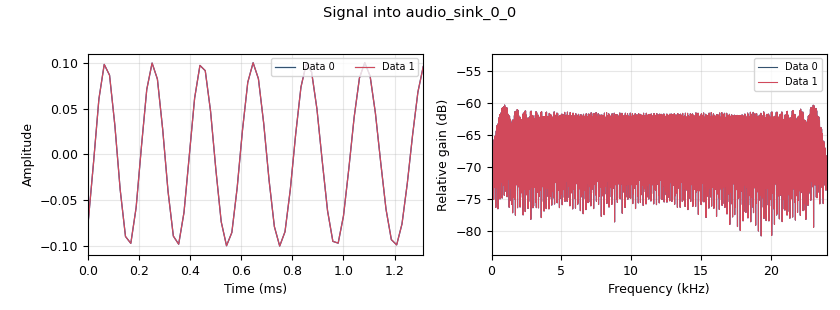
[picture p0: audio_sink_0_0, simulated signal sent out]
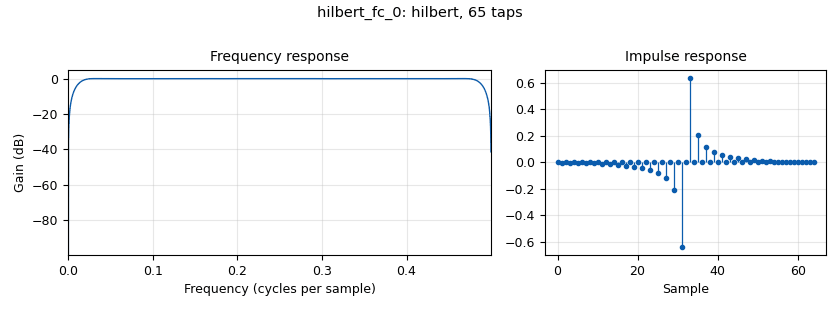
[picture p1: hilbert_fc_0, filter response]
<?xml version='1.0' encoding='utf-8'?>
<?grc format='1' created='3.7.12'?>
<flow_graph>
<block>
<key>options</key>
<param><key>id</key><value>audio_fmcw</value></param>
<param><key>author</key><value>Balint Seeber</value></param>
<param><key>category</key><value>Custom</value></param>
<param><key>comment</key><value>Adjust 'd' while running to compensate for audio HW delay</value></param>
<param><key>description</key><value>R1 (More info: https://wiki.spench.net/wiki/RF)</value></param>
<param><key>generate_options</key><value>wx_gui</value></param>
<param><key>title</key><value>Audio FMCW RADAR</value></param>
</block>
<block>
<key>variable_slider</key>
<param><key>id</key><value>d</value></param>
<param><key>converver</key><value>int_converter</value></param>
<param><key>value</key><value>350-100*0</value></param>
<param><key>label</key><value></value></param>
<param><key>max</key><value>1000</value></param>
<param><key>min</key><value>0</value></param>
<param><key>num_steps</key><value>1000</value></param>
<param><key>style</key><value>wx.SL_HORIZONTAL</value></param>
</block>
<block>
<key>variable_slider</key>
<param><key>id</key><value>demod_mul</value></param>
<param><key>converver</key><value>float_converter</value></param>
<param><key>value</key><value>-30</value></param>
<param><key>label</key><value></value></param>
<param><key>max</key><value>10</value></param>
<param><key>min</key><value>-60</value></param>
<param><key>num_steps</key><value>70</value></param>
<param><key>style</key><value>wx.SL_HORIZONTAL</value></param>
</block>
<block>
<key>variable</key>
<param><key>id</key><value>doppler_bins</value></param>
<param><key>value</key><value>64</value></param>
</block>
<block>
<key>variable_slider</key>
<param><key>id</key><value>dyn_range</value></param>
<param><key>converver</key><value>float_converter</value></param>
<param><key>value</key><value>10</value></param>
<param><key>label</key><value></value></param>
<param><key>max</key><value>100</value></param>
<param><key>min</key><value>0</value></param>
<param><key>num_steps</key><value>100</value></param>
<param><key>style</key><value>wx.SL_HORIZONTAL</value></param>
</block>
<block>
<key>variable_slider</key>
<param><key>id</key><value>f</value></param>
<param><key>converver</key><value>float_converter</value></param>
<param><key>value</key><value>0</value></param>
<param><key>_enabled</key><value>False</value></param>
<param><key>label</key><value></value></param>
<param><key>max</key><value>1</value></param>
<param><key>min</key><value>-1</value></param>
<param><key>num_steps</key><value>100</value></param>
<param><key>style</key><value>wx.SL_HORIZONTAL</value></param>
</block>
<block>
<key>variable</key>
<param><key>id</key><value>fft_size</value></param>
<param><key>_enabled</key><value>False</value></param>
<param><key>value</key><value>int(2**math.ceil(math.log(samps_per_chirp) / math.log(2)))</value></param>
</block>
<block>
<key>variable</key>
<param><key>id</key><value>fft_size</value></param>
<param><key>_enabled</key><value>False</value></param>
<param><key>value</key><value>2048 /2</value></param>
</block>
<block>
<key>variable</key>
<param><key>id</key><value>fft_size</value></param>
<param><key>value</key><value>int(samps_per_chirp)</value></param>
</block>
<block>
<key>variable_slider</key>
<param><key>id</key><value>lp_cutoff</value></param>
<param><key>converver</key><value>float_converter</value></param>
<param><key>value</key><value>2500</value></param>
<param><key>label</key><value></value></param>
<param><key>max</key><value>samp_rate/2</value></param>
<param><key>min</key><value>0</value></param>
<param><key>num_steps</key><value>1000</value></param>
<param><key>style</key><value>wx.SL_HORIZONTAL</value></param>
</block>
<block>
<key>variable_slider</key>
<param><key>id</key><value>mul</value></param>
<param><key>converver</key><value>float_converter</value></param>
<param><key>value</key><value>-10</value></param>
<param><key>label</key><value></value></param>
<param><key>max</key><value>0</value></param>
<param><key>min</key><value>-60</value></param>
<param><key>num_steps</key><value>60</value></param>
<param><key>style</key><value>wx.SL_HORIZONTAL</value></param>
</block>
<block>
<key>variable_slider</key>
<param><key>id</key><value>phase</value></param>
<param><key>converver</key><value>float_converter</value></param>
<param><key>value</key><value>0</value></param>
<param><key>_enabled</key><value>False</value></param>
<param><key>label</key><value></value></param>
<param><key>max</key><value>numpy.pi</value></param>
<param><key>min</key><value>-numpy.pi</value></param>
<param><key>num_steps</key><value>1000</value></param>
<param><key>style</key><value>wx.SL_HORIZONTAL</value></param>
</block>
<block>
<key>variable_text_box</key>
<param><key>id</key><value>phase_rate</value></param>
<param><key>converver</key><value>float_converter</value></param>
<param><key>value</key><value>1./3*2 + 10*0</value></param>
<param><key>formatter</key><value>None</value></param>
<param><key>label</key><value></value></param>
</block>
<block>
<key>variable_text_box</key>
<param><key>id</key><value>rate</value></param>
<param><key>converver</key><value>float_converter</value></param>
<param><key>value</key><value>1./10*0 + -50*1 + 2*0 + -10*0</value></param>
<param><key>formatter</key><value>None</value></param>
<param><key>label</key><value></value></param>
</block>
<block>
<key>variable_slider</key>
<param><key>id</key><value>ref_level</value></param>
<param><key>converver</key><value>float_converter</value></param>
<param><key>value</key><value>0+10</value></param>
<param><key>label</key><value></value></param>
<param><key>max</key><value>50</value></param>
<param><key>min</key><value>-50</value></param>
<param><key>num_steps</key><value>100</value></param>
<param><key>style</key><value>wx.SL_HORIZONTAL</value></param>
</block>
<block>
<key>variable_check_box</key>
<param><key>id</key><value>run_array</value></param>
<param><key>value</key><value>0</value></param>
<param><key>false</key><value>0</value></param>
<param><key>label</key><value></value></param>
<param><key>true</key><value>1</value></param>
</block>
<block>
<key>variable</key>
<param><key>id</key><value>samp_rate</value></param>
<param><key>value</key><value>int(48000)</value></param>
</block>
<block>
<key>variable</key>
<param><key>id</key><value>samps_per_chirp</value></param>
<param><key>value</key><value>samp_rate / abs(rate)</value></param>
</block>
<block>
<key>variable_any_code</key>
<param><key>id</key><value>variable_any_code_0</value></param>
<param><key>callback_mode</key><value>post</value></param>
<param><key>code</key><value>self.colouriser.set_ref_lvl(self.ref_level)</value></param>
<param><key>value</key><value>None</value></param>
<param><key>first_eval</key><value>none</value></param>
<param><key>injection</key><value>plain</value></param>
<param><key>deps</key><value>{'ref_lvl': ref_level}</value></param>
</block>
<block>
<key>variable_any_code</key>
<param><key>id</key><value>variable_any_code_1</value></param>
<param><key>callback_mode</key><value>post</value></param>
<param><key>code</key><value>self.colouriser.set_dyn_rng(self.dyn_range)</value></param>
<param><key>value</key><value>None</value></param>
<param><key>first_eval</key><value>none</value></param>
<param><key>injection</key><value>plain</value></param>
<param><key>deps</key><value>{'dyn_rng': dyn_range}</value></param>
</block>
<block>
<key>variable_any_code</key>
<param><key>id</key><value>variable_any_code_2_0</value></param>
<param><key>callback_mode</key><value>post</value></param>
<param><key>code</key><value>wx_flipper.WX_Flipper(self.GetWin(), self.sdl_sink.flip, 40, force_idle=True)</value></param>
<param><key>value</key><value>None</value></param>
<param><key>first_eval</key><value>post</value></param>
<param><key>injection</key><value>variable</value></param>
<param><key>deps</key><value>{}</value></param>
</block>
<block>
<key>variable_any_code</key>
<param><key>id</key><value>variable_any_code_2_0_0</value></param>
<param><key>callback_mode</key><value>post</value></param>
<param><key>code</key><value>wx_flipper.WX_Flipper(self.GetWin(), self.sdl_sink2.flip, 40, force_idle=True)</value></param>
<param><key>value</key><value>None</value></param>
<param><key>_enabled</key><value>0</value></param>
<param><key>first_eval</key><value>post</value></param>
<param><key>injection</key><value>variable</value></param>
<param><key>deps</key><value>{}</value></param>
</block>
<block>
<key>analog_agc_xx</key>
<param><key>id</key><value>analog_agc_xx_0</value></param>
<param><key>_enabled</key><value>False</value></param>
<param><key>gain</key><value>1.0</value></param>
<param><key>max_gain</key><value>65536</value></param>
<param><key>rate</key><value>1e-4</value></param>
<param><key>reference</key><value>1.0</value></param>
<param><key>type</key><value>float</value></param>
</block>
<block>
<key>analog_const_source_x</key>
<param><key>id</key><value>analog_const_source_x_0</value></param>
<param><key>const</key><value>f</value></param>
<param><key>_enabled</key><value>False</value></param>
<param><key>type</key><value>float</value></param>
</block>
<block>
<key>analog_const_source_x</key>
<param><key>id</key><value>analog_const_source_x_2</value></param>
<param><key>const</key><value>1-run_array</value></param>
<param><key>type</key><value>complex</value></param>
</block>
<block>
<key>analog_sig_source_x</key>
<param><key>id</key><value>analog_sig_source_x_0</value></param>
<param><key>amp</key><value>1</value></param>
<param><key>freq</key><value>rate</value></param>
<param><key>offset</key><value>0</value></param>
<param><key>type</key><value>float</value></param>
<param><key>samp_rate</key><value>samp_rate</value></param>
<param><key>waveform</key><value>analog.GR_SAW_WAVE</value></param>
</block>
<block>
<key>analog_sig_source_x</key>
<param><key>id</key><value>analog_sig_source_x_0_1</value></param>
<param><key>amp</key><value>run_array</value></param>
<param><key>freq</key><value>phase_rate</value></param>
<param><key>offset</key><value>0</value></param>
<param><key>type</key><value>complex</value></param>
<param><key>samp_rate</key><value>samp_rate</value></param>
<param><key>waveform</key><value>analog.GR_SIN_WAVE</value></param>
</block>
<block>
<key>any</key>
<param><key>id</key><value>any_0</value></param>
<param><key>block_desc</key><value></value></param>
<param><key>_enabled</key><value>False</value></param>
<param><key>block_maker</key><value>baz.overlap(8, fft_size, fft_size/(2), samp_rate)</value></param>
<param><key>num_inputs</key><value>1</value></param>
<param><key>num_outputs</key><value>1</value></param>
</block>
<block>
<key>any</key>
<param><key>id</key><value>any_1</value></param>
<param><key>block_desc</key><value></value></param>
<param><key>block_maker</key><value>baz.swap(4, doppler_bins/2)</value></param>
<param><key>num_inputs</key><value>1</value></param>
<param><key>num_outputs</key><value>1</value></param>
</block>
<block>
<key>any</key>
<param><key>id</key><value>any_2</value></param>
<param><key>block_desc</key><value></value></param>
<param><key>block_maker</key><value>baz.overlap(8, (fft_size*doppler_bins), (fft_size*doppler_bins)/(8*4))</value></param>
<param><key>num_inputs</key><value>1</value></param>
<param><key>num_outputs</key><value>1</value></param>
</block>
<block>
<key>audio_sink</key>
<param><key>id</key><value>audio_sink_0</value></param>
<param><key>_enabled</key><value>False</value></param>
<param><key>samp_rate</key><value>samp_rate</value></param>
</block>
<block>
<key>audio_sink</key>
<param><key>id</key><value>audio_sink_0_0</value></param>
<param><key>num_inputs</key><value>2</value></param>
<param><key>samp_rate</key><value>samp_rate</value></param>
</block>
<block>
<key>audio_source</key>
<param><key>id</key><value>audio_source_0</value></param>
<param><key>samp_rate</key><value>samp_rate</value></param>
</block>
<block>
<key>baz_delay</key>
<param><key>id</key><value>baz_delay_0</value></param>
<param><key>delay</key><value>d</value></param>
<param><key>num_ports</key><value>1</value></param>
<param><key>type</key><value>float</value></param>
<param><key>vlen</key><value>1</value></param>
</block>
<block>
<key>baz_plot_sink</key>
<param><key>id</key><value>baz_plot_sink_0</value></param>
<param><key>data_len</key><value>fft_size</value></param>
<param><key>_enabled</key><value>False</value></param>
<param><key>ref_level</key><value>50</value></param>
<param><key>samp_rate</key><value>samp_rate</value></param>
<param><key>title</key><value>Plot</value></param>
<param><key>y_divs</key><value>10</value></param>
<param><key>y_per_div</key><value>10</value></param>
</block>
<block>
<key>baz_waterfall_sink</key>
<param><key>id</key><value>baz_waterfall_sink_0</value></param>
<param><key>data_len</key><value>fft_size/2</value></param>
<param><key>dynamic_range</key><value>20</value></param>
<param><key>freqvar</key><value>None</value></param>
<param><key>grid_pos</key><value>0, 0, 1, 1</value></param>
<param><key>ref_scale</key><value>2.0</value></param>
<param><key>ref_level</key><value>10</value></param>
<param><key>always_run</key><value>False</value></param>
<param><key>title</key><value>Waterfall Plot</value></param>
<param><key>win_size</key><value>1024*2*0 + 1440, 1024*0 + 768*0 + 640</value></param>
<param><key>x_offset</key><value>0</value></param>
</block>
<block>
<key>blocks_add_xx</key>
<param><key>id</key><value>blocks_add_xx_0</value></param>
<param><key>type</key><value>complex</value></param>
</block>
<block>
<key>blocks_complex_to_float</key>
<param><key>id</key><value>blocks_complex_to_float_0</value></param>
<param><key>_enabled</key><value>False</value></param>
</block>
<block>
<key>blocks_complex_to_float</key>
<param><key>id</key><value>blocks_complex_to_float_0_0</value></param>
</block>
<block>
<key>blocks_complex_to_float</key>
<param><key>id</key><value>blocks_complex_to_float_0_0_0</value></param>
</block>
<block>
<key>blocks_complex_to_mag</key>
<param><key>id</key><value>blocks_complex_to_mag_0</value></param>
<param><key>vlen</key><value>fft_size/2</value></param>
</block>
<block>
<key>blocks_complex_to_mag</key>
<param><key>id</key><value>blocks_complex_to_mag_0_0</value></param>
<param><key>_enabled</key><value>False</value></param>
<param><key>vlen</key><value>fft_size</value></param>
</block>
<block>
<key>blocks_complex_to_mag</key>
<param><key>id</key><value>blocks_complex_to_mag_0_1</value></param>
</block>
<block>
<key>blocks_keep_m_in_n</key>
<param><key>id</key><value>blocks_keep_m_in_n_0</value></param>
<param><key>m</key><value>fft_size/2</value></param>
<param><key>n</key><value>fft_size</value></param>
<param><key>type</key><value>complex</value></param>
<param><key>offset</key><value>fft_size/2</value></param>
</block>
<block>
<key>blocks_keep_m_in_n</key>
<param><key>id</key><value>blocks_keep_m_in_n_1</value></param>
<param><key>_enabled</key><value>False</value></param>
<param><key>m</key><value>int(samps_per_chirp)</value></param>
<param><key>n</key><value>fft_size</value></param>
<param><key>type</key><value>complex</value></param>
<param><key>offset</key><value>0</value></param>
</block>
<block>
<key>blocks_keep_m_in_n</key>
<param><key>id</key><value>blocks_keep_m_in_n_2</value></param>
<param><key>m</key><value>doppler_bins*(fft_size/2)</value></param>
<param><key>n</key><value>doppler_bins*(fft_size)</value></param>
<param><key>type</key><value>complex</value></param>
<param><key>offset</key><value>0</value></param>
</block>
<block>
<key>blocks_keep_one_in_n</key>
<param><key>id</key><value>blocks_keep_one_in_n_0</value></param>
<param><key>n</key><value>1</value></param>
<param><key>type</key><value>float</value></param>
<param><key>vlen</key><value>fft_size/2</value></param>
</block>
<block>
<key>blocks_keep_one_in_n</key>
<param><key>id</key><value>blocks_keep_one_in_n_0_0</value></param>
<param><key>_enabled</key><value>False</value></param>
<param><key>n</key><value>16</value></param>
<param><key>type</key><value>float</value></param>
<param><key>vlen</key><value>fft_size</value></param>
</block>
<block>
<key>blocks_multiply_conjugate_cc</key>
<param><key>id</key><value>blocks_multiply_conjugate_cc_0</value></param>
</block>
<block>
<key>blocks_multiply_const_vxx</key>
<param><key>id</key><value>blocks_multiply_const_vxx_1</value></param>
<param><key>const</key><value>10.**(1.*mul/10.0)</value></param>
<param><key>type</key><value>float</value></param>
</block>
<block>
<key>blocks_multiply_const_vxx</key>
<param><key>id</key><value>blocks_multiply_const_vxx_1_0</value></param>
<param><key>const</key><value>10.**(1.*mul/10.0)</value></param>
<param><key>type</key><value>float</value></param>
</block>
<block>
<key>blocks_multiply_const_vxx</key>
<param><key>id</key><value>blocks_multiply_const_vxx_2</value></param>
<param><key>const</key><value>numpy.exp(1j*phase)</value></param>
<param><key>_enabled</key><value>False</value></param>
<param><key>type</key><value>complex</value></param>
</block>
<block>
<key>blocks_multiply_const_vxx</key>
<param><key>id</key><value>blocks_multiply_const_vxx_3_0</value></param>
<param><key>const</key><value>255.</value></param>
<param><key>_enabled</key><value>False</value></param>
<param><key>type</key><value>float</value></param>
</block>
<block>
<key>blocks_multiply_const_vxx</key>
<param><key>id</key><value>blocks_multiply_const_vxx_4</value></param>
<param><key>const</key><value>10.**(1.*demod_mul/10.)</value></param>
<param><key>_enabled</key><value>False</value></param>
<param><key>type</key><value>float</value></param>
</block>
<block>
<key>blocks_multiply_xx</key>
<param><key>id</key><value>blocks_multiply_xx_1</value></param>
<param><key>type</key><value>complex</value></param>
</block>
<block>
<key>blocks_nlog10_ff</key>
<param><key>id</key><value>blocks_nlog10_ff_0</value></param>
<param><key>vlen</key><value>fft_size/2</value></param>
<param><key>k</key><value>0</value></param>
<param><key>n</key><value>10</value></param>
</block>
<block>
<key>blocks_nlog10_ff</key>
<param><key>id</key><value>blocks_nlog10_ff_0_0</value></param>
<param><key>k</key><value>0</value></param>
<param><key>n</key><value>10</value></param>
</block>
<block>
<key>blocks_null_sink</key>
<param><key>id</key><value>blocks_null_sink_0</value></param>
<param><key>bus_conns</key><value>[[0,],]</value></param>
<param><key>_enabled</key><value>0</value></param>
<param><key>type</key><value>byte</value></param>
</block>
<block>
<key>blocks_stream_to_vector</key>
<param><key>id</key><value>blocks_stream_to_vector_0</value></param>
<param><key>type</key><value>complex</value></param>
<param><key>num_items</key><value>fft_size</value></param>
</block>
<block>
<key>blocks_stream_to_vector</key>
<param><key>id</key><value>blocks_stream_to_vector_0_0</value></param>
<param><key>type</key><value>complex</value></param>
<param><key>num_items</key><value>fft_size * doppler_bins</value></param>
</block>
<block>
<key>blocks_stream_to_vector</key>
<param><key>id</key><value>blocks_stream_to_vector_1</value></param>
<param><key>type</key><value>complex</value></param>
<param><key>num_items</key><value>fft_size / 2</value></param>
</block>
<block>
<key>blocks_vco_c</key>
<param><key>id</key><value>blocks_vco_c_0</value></param>
<param><key>amplitude</key><value>1.0</value></param>
<param><key>samp_rate</key><value>1.0</value></param>
<param><key>sensitivity</key><value>math.pi</value></param>
</block>
<block>
<key>blocks_vco_c</key>
<param><key>id</key><value>blocks_vco_c_0_0</value></param>
<param><key>amplitude</key><value>1.0</value></param>
<param><key>samp_rate</key><value>1.0</value></param>
<param><key>sensitivity</key><value>math.pi</value></param>
</block>
<block>
<key>blocks_vco_f</key>
<param><key>id</key><value>blocks_vco_f_0</value></param>
<param><key>amplitude</key><value>1.0</value></param>
<param><key>_enabled</key><value>False</value></param>
<param><key>samp_rate</key><value>1.0</value></param>
<param><key>sensitivity</key><value>math.pi</value></param>
</block>
<block>
<key>blocks_vector_to_stream</key>
<param><key>id</key><value>blocks_vector_to_stream_0</value></param>
<param><key>type</key><value>complex</value></param>
<param><key>num_items</key><value>fft_size</value></param>
</block>
<block>
<key>blocks_vector_to_stream</key>
<param><key>id</key><value>blocks_vector_to_stream_1</value></param>
<param><key>_enabled</key><value>False</value></param>
<param><key>type</key><value>complex</value></param>
<param><key>num_items</key><value>fft_size</value></param>
</block>
<block>
<key>blocks_vector_to_stream</key>
<param><key>id</key><value>blocks_vector_to_stream_2</value></param>
<param><key>_enabled</key><value>0</value></param>
<param><key>type</key><value>float</value></param>
<param><key>num_items</key><value>fft_size / 2</value></param>
</block>
<block>
<key>blocks_vector_to_stream</key>
<param><key>id</key><value>blocks_vector_to_stream_3</value></param>
<param><key>type</key><value>complex</value></param>
<param><key>num_items</key><value>fft_size*doppler_bins</value></param>
</block>
<block>
<key>blocks_wavfile_sink</key>
<param><key>id</key><value>blocks_wavfile_sink_0</value></param>
<param><key>bits_per_sample</key><value>16</value></param>
<param><key>_enabled</key><value>False</value></param>
<param><key>file</key><value>fmcw.wav</value></param>
<param><key>samp_rate</key><value>samp_rate</value></param>
</block>
<block>
<key>any</key>
<param><key>id</key><value>colouriser</value></param>
<param><key>block_desc</key><value></value></param>
<param><key>block_maker</key><value>baz.colouriser(self.ref_level, self.dyn_range)</value></param>
<param><key>num_inputs</key><value>1</value></param>
<param><key>num_outputs</key><value>1</value></param>
</block>
<block>
<key>any</key>
<param><key>id</key><value>colouriser2</value></param>
<param><key>block_desc</key><value></value></param>
<param><key>_enabled</key><value>0</value></param>
<param><key>block_maker</key><value>baz.colouriser(self.ref_level, self.dyn_range)</value></param>
<param><key>num_inputs</key><value>1</value></param>
<param><key>num_outputs</key><value>1</value></param>
</block>
<block>
<key>fft_vxx</key>
<param><key>id</key><value>fft_vxx_0</value></param>
<param><key>fft_size</key><value>fft_size</value></param>
<param><key>forward</key><value>True</value></param>
<param><key>type</key><value>complex</value></param>
<param><key>shift</key><value>True</value></param>
<param><key>window</key><value>list(window.blackmanharris(fft_size))*0 + [1]*fft_size*1</value></param>
</block>
<block>
<key>fft_vxx</key>
<param><key>id</key><value>fft_vxx_0_0</value></param>
<param><key>fft_size</key><value>fft_size * doppler_bins</value></param>
<param><key>forward</key><value>True</value></param>
<param><key>type</key><value>complex</value></param>
<param><key>nthreads</key><value>4</value></param>
<param><key>shift</key><value>False</value></param>
<param><key>window</key><value>list(window.blackmanharris(fft_size*doppler_bins))*1 + [1]*((fft_size*doppler_bins)*0)</value></param>
</block>
<block>
<key>fft_vxx</key>
<param><key>id</key><value>fft_vxx_1</value></param>
<param><key>_enabled</key><value>False</value></param>
<param><key>fft_size</key><value>fft_size</value></param>
<param><key>forward</key><value>False</value></param>
<param><key>type</key><value>complex</value></param>
<param><key>shift</key><value>False</value></param>
<param><key>window</key><value>list(window.blackmanharris(fft_size))*0 + [1]*fft_size</value></param>
</block>
<block>
<key>high_pass_filter</key>
<param><key>id</key><value>high_pass_filter_0</value></param>
<param><key>cutoff_freq</key><value>lp_cutoff</value></param>
<param><key>decim</key><value>1</value></param>
<param><key>_enabled</key><value>False</value></param>
<param><key>type</key><value>fir_filter_fff</value></param>
<param><key>gain</key><value>1</value></param>
<param><key>samp_rate</key><value>samp_rate</value></param>
<param><key>width</key><value>500</value></param>
<param><key>win</key><value>firdes.WIN_HAMMING</value></param>
</block>
<block>
<key>hilbert_fc</key>
<param><key>id</key><value>hilbert_fc_0</value></param>
<param><key>num_taps</key><value>65</value></param>
<param><key>win</key><value>firdes.WIN_HAMMING</value></param>
</block>
<block>
<key>import</key>
<param><key>id</key><value>import_0</value></param>
<param><key>import</key><value>import math</value></param>
</block>
<block>
<key>import</key>
<param><key>id</key><value>import_1</value></param>
<param><key>import</key><value>import baz</value></param>
</block>
<block>
<key>import</key>
<param><key>id</key><value>import_2</value></param>
<param><key>import</key><value>import numpy</value></param>
</block>
<block>
<key>import</key>
<param><key>id</key><value>import_4</value></param>
<param><key>import</key><value>from baz import wx_flipper</value></param>
</block>
<block>
<key>baz_sdl_sink</key>
<param><key>id</key><value>sdl_sink</value></param>
<param><key>filename</key><value></value></param>
<param><key>num_channels</key><value>1</value></param>
<param><key>display_height</key><value>fft_size/2</value></param>
<param><key>display_width</key><value>doppler_bins</value></param>
<param><key>manual_flip</key><value>True</value></param>
<param><key>font_path</key><value></value></param>
<param><key>fps</key><value>0</value></param>
<param><key>height</key><value>fft_size/2</value></param>
<param><key>type</key><value>byte</value></param>
<param><key>width</key><value>doppler_bins</value></param>
<param><key>mode</key><value>True</value></param>
</block>
<block>
<key>baz_sdl_sink</key>
<param><key>id</key><value>sdl_sink2</value></param>
<param><key>filename</key><value></value></param>
<param><key>num_channels</key><value>1</value></param>
<param><key>display_height</key><value>4 * int(abs(rate) / phase_rate)</value></param>
<param><key>display_width</key><value>2 * fft_size/2</value></param>
<param><key>_enabled</key><value>0</value></param>
<param><key>manual_flip</key><value>True</value></param>
<param><key>font_path</key><value></value></param>
<param><key>fps</key><value>0</value></param>
<param><key>height</key><value>int(abs(rate) / phase_rate)</value></param>
<param><key>type</key><value>byte</value></param>
<param><key>width</key><value>fft_size/2</value></param>
<param><key>mode</key><value>True</value></param>
</block>
<block>
<key>wxgui_fftsink2</key>
<param><key>id</key><value>wxgui_fftsink2_0</value></param>
<param><key>avg_alpha</key><value>0</value></param>
<param><key>average</key><value>False</value></param>
<param><key>baseband_freq</key><value>0</value></param>
<param><key>_enabled</key><value>False</value></param>
<param><key>fft_size</key><value>1024</value></param>
<param><key>freqvar</key><value>None</value></param>
<param><key>peak_hold</key><value>False</value></param>
<param><key>ref_level</key><value>0</value></param>
<param><key>ref_scale</key><value>2.0</value></param>
<param><key>fft_rate</key><value>15</value></param>
<param><key>samp_rate</key><value>samp_rate</value></param>
<param><key>title</key><value>FFT Plot</value></param>
<param><key>type</key><value>float</value></param>
<param><key>win</key><value>None</value></param>
<param><key>y_divs</key><value>10</value></param>
<param><key>y_per_div</key><value>10</value></param>
</block>
<block>
<key>wxgui_fftsink2</key>
<param><key>id</key><value>wxgui_fftsink2_1</value></param>
<param><key>avg_alpha</key><value>0</value></param>
<param><key>average</key><value>False</value></param>
<param><key>baseband_freq</key><value>0</value></param>
<param><key>_enabled</key><value>False</value></param>
<param><key>fft_size</key><value>1024</value></param>
<param><key>freqvar</key><value>None</value></param>
<param><key>peak_hold</key><value>False</value></param>
<param><key>ref_level</key><value>0</value></param>
<param><key>ref_scale</key><value>2.0</value></param>
<param><key>fft_rate</key><value>15</value></param>
<param><key>samp_rate</key><value>samp_rate</value></param>
<param><key>title</key><value>FFT Plot</value></param>
<param><key>type</key><value>complex</value></param>
<param><key>win</key><value>None</value></param>
<param><key>y_divs</key><value>10</value></param>
<param><key>y_per_div</key><value>10</value></param>
</block>
<block>
<key>wxgui_fftsink2</key>
<param><key>id</key><value>wxgui_fftsink2_2</value></param>
<param><key>avg_alpha</key><value>0</value></param>
<param><key>average</key><value>False</value></param>
<param><key>baseband_freq</key><value>0</value></param>
<param><key>_enabled</key><value>False</value></param>
<param><key>fft_size</key><value>1024</value></param>
<param><key>freqvar</key><value>None</value></param>
<param><key>peak_hold</key><value>False</value></param>
<param><key>ref_level</key><value>0</value></param>
<param><key>ref_scale</key><value>2.0</value></param>
<param><key>fft_rate</key><value>15</value></param>
<param><key>samp_rate</key><value>samp_rate</value></param>
<param><key>title</key><value>FFT Plot</value></param>
<param><key>type</key><value>float</value></param>
<param><key>win</key><value>None</value></param>
<param><key>y_divs</key><value>10</value></param>
<param><key>y_per_div</key><value>10</value></param>
</block>
<block>
<key>wxgui_scopesink2</key>
<param><key>id</key><value>wxgui_scopesink2_0</value></param>
<param><key>ac_couple</key><value>False</value></param>
<param><key>_enabled</key><value>False</value></param>
<param><key>num_inputs</key><value>1</value></param>
<param><key>samp_rate</key><value>samp_rate</value></param>
<param><key>t_scale</key><value>0</value></param>
<param><key>title</key><value>Scope Plot</value></param>
<param><key>trig_mode</key><value>wxgui.TRIG_MODE_AUTO</value></param>
<param><key>type</key><value>float</value></param>
<param><key>v_offset</key><value>0</value></param>
<param><key>v_scale</key><value>1</value></param>
<param><key>xy_mode</key><value>False</value></param>
<param><key>y_axis_label</key><value>Counts</value></param>
</block>
<block>
<key>wxgui_scopesink2</key>
<param><key>id</key><value>wxgui_scopesink2_1</value></param>
<param><key>ac_couple</key><value>False</value></param>
<param><key>_enabled</key><value>False</value></param>
<param><key>num_inputs</key><value>1</value></param>
<param><key>samp_rate</key><value>samp_rate</value></param>
<param><key>t_scale</key><value>0</value></param>
<param><key>title</key><value>Scope Plot</value></param>
<param><key>trig_mode</key><value>wxgui.TRIG_MODE_AUTO</value></param>
<param><key>type</key><value>float</value></param>
<param><key>v_offset</key><value>0</value></param>
<param><key>v_scale</key><value>0</value></param>
<param><key>xy_mode</key><value>False</value></param>
<param><key>y_axis_label</key><value>Counts</value></param>
</block>
<block>
<key>wxgui_waterfallsink2</key>
<param><key>id</key><value>wxgui_waterfallsink2_0</value></param>
<param><key>avg_alpha</key><value>0</value></param>
<param><key>average</key><value>False</value></param>
<param><key>baseband_freq</key><value>0</value></param>
<param><key>dynamic_range</key><value>100</value></param>
<param><key>_enabled</key><value>False</value></param>
<param><key>fft_rate</key><value>15</value></param>
<param><key>fft_size</key><value>512</value></param>
<param><key>freqvar</key><value>None</value></param>
<param><key>ref_scale</key><value>2.0</value></param>
<param><key>ref_level</key><value>0</value></param>
<param><key>samp_rate</key><value>samp_rate</value></param>
<param><key>title</key><value>Waterfall Plot</value></param>
<param><key>type</key><value>float</value></param>
<param><key>win</key><value>None</value></param>
</block>
<block>
<key>wxgui_waterfallsink2</key>
<param><key>id</key><value>wxgui_waterfallsink2_1</value></param>
<param><key>avg_alpha</key><value>0</value></param>
<param><key>average</key><value>False</value></param>
<param><key>baseband_freq</key><value>0</value></param>
<param><key>dynamic_range</key><value>100</value></param>
<param><key>_enabled</key><value>False</value></param>
<param><key>fft_rate</key><value>30</value></param>
<param><key>fft_size</key><value>512*4</value></param>
<param><key>freqvar</key><value>None</value></param>
<param><key>ref_scale</key><value>2.0</value></param>
<param><key>ref_level</key><value>0</value></param>
<param><key>samp_rate</key><value>samp_rate</value></param>
<param><key>title</key><value>Waterfall Plot</value></param>
<param><key>type</key><value>complex</value></param>
<param><key>win</key><value>None</value></param>
</block>
<connection><source_block_id>analog_agc_xx_0</source_block_id><sink_block_id>blocks_multiply_const_vxx_3_0</sink_block_id><source_key>0</source_key><sink_key>0</sink_key></connection>
<connection><source_block_id>analog_const_source_x_0</source_block_id><sink_block_id>blocks_vco_f_0</sink_block_id><source_key>0</source_key><sink_key>0</sink_key></connection>
<connection><source_block_id>analog_const_source_x_2</source_block_id><sink_block_id>blocks_add_xx_0</sink_block_id><source_key>0</source_key><sink_key>1</sink_key></connection>
<connection><source_block_id>analog_sig_source_x_0</source_block_id><sink_block_id>baz_delay_0</sink_block_id><source_key>0</source_key><sink_key>0</sink_key></connection>
<connection><source_block_id>analog_sig_source_x_0</source_block_id><sink_block_id>blocks_vco_c_0_0</sink_block_id><source_key>0</source_key><sink_key>0</sink_key></connection>
<connection><source_block_id>analog_sig_source_x_0</source_block_id><sink_block_id>blocks_vco_f_0</sink_block_id><source_key>0</source_key><sink_key>0</sink_key></connection>
<connection><source_block_id>analog_sig_source_x_0</source_block_id><sink_block_id>wxgui_scopesink2_0</sink_block_id><source_key>0</source_key><sink_key>0</sink_key></connection>
<connection><source_block_id>analog_sig_source_x_0_1</source_block_id><sink_block_id>blocks_add_xx_0</sink_block_id><source_key>0</source_key><sink_key>0</sink_key></connection>
<connection><source_block_id>any_0</source_block_id><sink_block_id>blocks_stream_to_vector_0</sink_block_id><source_key>0</source_key><sink_key>0</sink_key></connection>
<connection><source_block_id>any_0</source_block_id><sink_block_id>wxgui_waterfallsink2_1</sink_block_id><source_key>0</source_key><sink_key>0</sink_key></connection>
<connection><source_block_id>any_1</source_block_id><sink_block_id>colouriser</sink_block_id><source_key>0</source_key><sink_key>0</sink_key></connection>
<connection><source_block_id>any_2</source_block_id><sink_block_id>blocks_stream_to_vector_0_0</sink_block_id><source_key>0</source_key><sink_key>0</sink_key></connection>
<connection><source_block_id>audio_source_0</source_block_id><sink_block_id>hilbert_fc_0</sink_block_id><source_key>0</source_key><sink_key>0</sink_key></connection>
<connection><source_block_id>audio_source_0</source_block_id><sink_block_id>wxgui_waterfallsink2_0</sink_block_id><source_key>0</source_key><sink_key>0</sink_key></connection>
<connection><source_block_id>baz_delay_0</source_block_id><sink_block_id>blocks_vco_c_0</sink_block_id><source_key>0</source_key><sink_key>0</sink_key></connection>
<connection><source_block_id>blocks_add_xx_0</source_block_id><sink_block_id>blocks_multiply_xx_1</sink_block_id><source_key>0</source_key><sink_key>1</sink_key></connection>
<connection><source_block_id>blocks_complex_to_float_0</source_block_id><sink_block_id>high_pass_filter_0</sink_block_id><source_key>0</source_key><sink_key>0</sink_key></connection>
<connection><source_block_id>blocks_complex_to_float_0</source_block_id><sink_block_id>wxgui_fftsink2_2</sink_block_id><source_key>0</source_key><sink_key>0</sink_key></connection>
<connection><source_block_id>blocks_complex_to_float_0_0</source_block_id><sink_block_id>blocks_multiply_const_vxx_1</sink_block_id><source_key>0</source_key><sink_key>0</sink_key></connection>
<connection><source_block_id>blocks_complex_to_float_0_0_0</source_block_id><sink_block_id>blocks_multiply_const_vxx_1_0</sink_block_id><source_key>0</source_key><sink_key>0</sink_key></connection>
<connection><source_block_id>blocks_complex_to_mag_0</source_block_id><sink_block_id>blocks_nlog10_ff_0</sink_block_id><source_key>0</source_key><sink_key>0</sink_key></connection>
<connection><source_block_id>blocks_complex_to_mag_0_0</source_block_id><sink_block_id>blocks_keep_one_in_n_0_0</sink_block_id><source_key>0</source_key><sink_key>0</sink_key></connection>
<connection><source_block_id>blocks_complex_to_mag_0_1</source_block_id><sink_block_id>blocks_nlog10_ff_0_0</sink_block_id><source_key>0</source_key><sink_key>0</sink_key></connection>
<connection><source_block_id>blocks_keep_m_in_n_0</source_block_id><sink_block_id>blocks_stream_to_vector_1</sink_block_id><source_key>0</source_key><sink_key>0</sink_key></connection>
<connection><source_block_id>blocks_keep_m_in_n_1</source_block_id><sink_block_id>blocks_complex_to_float_0</sink_block_id><source_key>0</source_key><sink_key>0</sink_key></connection>
<connection><source_block_id>blocks_keep_m_in_n_2</source_block_id><sink_block_id>blocks_complex_to_mag_0_1</sink_block_id><source_key>0</source_key><sink_key>0</sink_key></connection>
<connection><source_block_id>blocks_keep_one_in_n_0</source_block_id><sink_block_id>baz_waterfall_sink_0</sink_block_id><source_key>0</source_key><sink_key>0</sink_key></connection>
<connection><source_block_id>blocks_keep_one_in_n_0_0</source_block_id><sink_block_id>baz_plot_sink_0</sink_block_id><source_key>0</source_key><sink_key>0</sink_key></connection>
<connection><source_block_id>blocks_multiply_conjugate_cc_0</source_block_id><sink_block_id>any_0</sink_block_id><source_key>0</source_key><sink_key>0</sink_key></connection>
<connection><source_block_id>blocks_multiply_conjugate_cc_0</source_block_id><sink_block_id>any_2</sink_block_id><source_key>0</source_key><sink_key>0</sink_key></connection>
<connection><source_block_id>blocks_multiply_conjugate_cc_0</source_block_id><sink_block_id>blocks_stream_to_vector_0</sink_block_id><source_key>0</source_key><sink_key>0</sink_key></connection>
<connection><source_block_id>blocks_multiply_const_vxx_1</source_block_id><sink_block_id>audio_sink_0</sink_block_id><source_key>0</source_key><sink_key>0</sink_key></connection>
<connection><source_block_id>blocks_multiply_const_vxx_1</source_block_id><sink_block_id>audio_sink_0_0</sink_block_id><source_key>0</source_key><sink_key>0</sink_key></connection>
<connection><source_block_id>blocks_multiply_const_vxx_1_0</source_block_id><sink_block_id>audio_sink_0_0</sink_block_id><source_key>0</source_key><sink_key>1</sink_key></connection>
<connection><source_block_id>blocks_multiply_const_vxx_2</source_block_id><sink_block_id>blocks_complex_to_float_0_0_0</sink_block_id><source_key>0</source_key><sink_key>0</sink_key></connection>
<connection><source_block_id>blocks_multiply_const_vxx_4</source_block_id><sink_block_id>blocks_wavfile_sink_0</sink_block_id><source_key>0</source_key><sink_key>0</sink_key></connection>
<connection><source_block_id>blocks_multiply_const_vxx_4</source_block_id><sink_block_id>wxgui_scopesink2_1</sink_block_id><source_key>0</source_key><sink_key>0</sink_key></connection>
<connection><source_block_id>blocks_multiply_xx_1</source_block_id><sink_block_id>blocks_complex_to_float_0_0_0</sink_block_id><source_key>0</source_key><sink_key>0</sink_key></connection>
<connection><source_block_id>blocks_nlog10_ff_0</source_block_id><sink_block_id>blocks_keep_one_in_n_0</sink_block_id><source_key>0</source_key><sink_key>0</sink_key></connection>
<connection><source_block_id>blocks_nlog10_ff_0</source_block_id><sink_block_id>blocks_vector_to_stream_2</sink_block_id><source_key>0</source_key><sink_key>0</sink_key></connection>
<connection><source_block_id>blocks_nlog10_ff_0_0</source_block_id><sink_block_id>any_1</sink_block_id><source_key>0</source_key><sink_key>0</sink_key></connection>
<connection><source_block_id>blocks_stream_to_vector_0</source_block_id><sink_block_id>fft_vxx_0</sink_block_id><source_key>0</source_key><sink_key>0</sink_key></connection>
<connection><source_block_id>blocks_stream_to_vector_0_0</source_block_id><sink_block_id>fft_vxx_0_0</sink_block_id><source_key>0</source_key><sink_key>0</sink_key></connection>
<connection><source_block_id>blocks_stream_to_vector_1</source_block_id><sink_block_id>blocks_complex_to_mag_0</sink_block_id><source_key>0</source_key><sink_key>0</sink_key></connection>
<connection><source_block_id>blocks_vco_c_0</source_block_id><sink_block_id>blocks_multiply_conjugate_cc_0</sink_block_id><source_key>0</source_key><sink_key>1</sink_key></connection>
<connection><source_block_id>blocks_vco_c_0_0</source_block_id><sink_block_id>blocks_complex_to_float_0_0</sink_block_id><source_key>0</source_key><sink_key>0</sink_key></connection>
<connection><source_block_id>blocks_vco_c_0_0</source_block_id><sink_block_id>blocks_multiply_const_vxx_2</sink_block_id><source_key>0</source_key><sink_key>0</sink_key></connection>
<connection><source_block_id>blocks_vco_c_0_0</source_block_id><sink_block_id>blocks_multiply_xx_1</sink_block_id><source_key>0</source_key><sink_key>0</sink_key></connection>
<connection><source_block_id>blocks_vco_f_0</source_block_id><sink_block_id>blocks_multiply_const_vxx_1</sink_block_id><source_key>0</source_key><sink_key>0</sink_key></connection>
<connection><source_block_id>blocks_vco_f_0</source_block_id><sink_block_id>wxgui_fftsink2_0</sink_block_id><source_key>0</source_key><sink_key>0</sink_key></connection>
<connection><source_block_id>blocks_vector_to_stream_0</source_block_id><sink_block_id>blocks_keep_m_in_n_0</sink_block_id><source_key>0</source_key><sink_key>0</sink_key></connection>
<connection><source_block_id>blocks_vector_to_stream_1</source_block_id><sink_block_id>blocks_keep_m_in_n_1</sink_block_id><source_key>0</source_key><sink_key>0</sink_key></connection>
<connection><source_block_id>blocks_vector_to_stream_2</source_block_id><sink_block_id>colouriser2</sink_block_id><source_key>0</source_key><sink_key>0</sink_key></connection>
<connection><source_block_id>blocks_vector_to_stream_3</source_block_id><sink_block_id>blocks_keep_m_in_n_2</sink_block_id><source_key>0</source_key><sink_key>0</sink_key></connection>
<connection><source_block_id>colouriser</source_block_id><sink_block_id>blocks_null_sink_0</sink_block_id><source_key>0</source_key><sink_key>0</sink_key></connection>
<connection><source_block_id>colouriser</source_block_id><sink_block_id>sdl_sink</sink_block_id><source_key>0</source_key><sink_key>0</sink_key></connection>
<connection><source_block_id>colouriser2</source_block_id><sink_block_id>sdl_sink2</sink_block_id><source_key>0</source_key><sink_key>0</sink_key></connection>
<connection><source_block_id>fft_vxx_0</source_block_id><sink_block_id>blocks_complex_to_mag_0_0</sink_block_id><source_key>0</source_key><sink_key>0</sink_key></connection>
<connection><source_block_id>fft_vxx_0</source_block_id><sink_block_id>blocks_vector_to_stream_0</sink_block_id><source_key>0</source_key><sink_key>0</sink_key></connection>
<connection><source_block_id>fft_vxx_0</source_block_id><sink_block_id>fft_vxx_1</sink_block_id><source_key>0</source_key><sink_key>0</sink_key></connection>
<connection><source_block_id>fft_vxx_0_0</source_block_id><sink_block_id>blocks_vector_to_stream_3</sink_block_id><source_key>0</source_key><sink_key>0</sink_key></connection>
<connection><source_block_id>fft_vxx_1</source_block_id><sink_block_id>blocks_vector_to_stream_1</sink_block_id><source_key>0</source_key><sink_key>0</sink_key></connection>
<connection><source_block_id>high_pass_filter_0</source_block_id><sink_block_id>blocks_multiply_const_vxx_4</sink_block_id><source_key>0</source_key><sink_key>0</sink_key></connection>
<connection><source_block_id>hilbert_fc_0</source_block_id><sink_block_id>blocks_multiply_conjugate_cc_0</sink_block_id><source_key>0</source_key><sink_key>0</sink_key></connection>
<connection><source_block_id>hilbert_fc_0</source_block_id><sink_block_id>wxgui_fftsink2_1</sink_block_id><source_key>0</source_key><sink_key>0</sink_key></connection>
</flow_graph>
